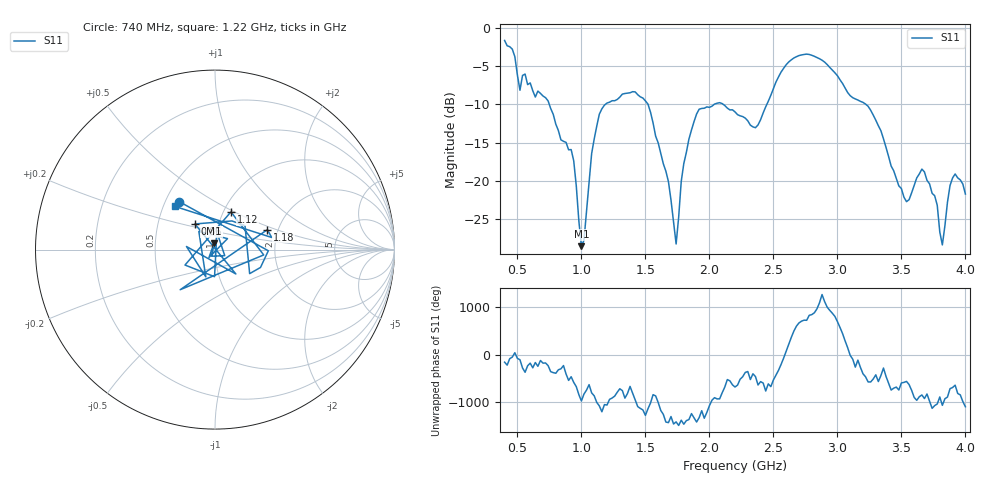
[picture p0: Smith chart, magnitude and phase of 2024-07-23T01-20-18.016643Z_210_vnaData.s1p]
!Created with skrf (http://scikit-rf.org).
# Hz S RI R 50.0
!freq ReS11 ImS11
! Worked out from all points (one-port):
!   181 points, 400 MHz to 4 GHz, reference 50 ohm
!   lowest |S11| = -28.5 dB at 1 GHz (marker M1), VSWR 1.08, Z = 49.3 + j3.67 ohm
!   |S11| at or under -10 dB: 749.1 MHz to 1.187 GHz (438.1 MHz wide, 45.3 % of centre); 1.521 GHz to 2.037 GHz (516.3 MHz wide, 29 % of centre); 3.223 GHz to end of sweep (the widest 3 of 4)
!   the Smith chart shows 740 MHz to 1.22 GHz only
!   S11 on the Smith chart (normalised r, x): 740 MHz: 0.59, +0.35; 860 MHz: 0.77, +0.23; 1.12 GHz: 1.08, +0.48; 1.18 GHz: 1.76, +0.43; 1.22 GHz: 0.58, +0.31
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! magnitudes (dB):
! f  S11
! 400 MHz  -1.7
! 520 MHz  -8.2
! 560 MHz  -6.0
! 740 MHz  -9.5
! 860 MHz  -14.8
! 940 MHz  -17.4
! 1 GHz  -28.5
! 1.12 GHz  -12.8
! 1.18 GHz  -10.1
! 1.22 GHz  -9.7
! 1.3 GHz  -9.1
! 1.52 GHz  -10.0
! 1.68 GHz  -20.1
! 1.74 GHz  -28.2
! 1.76 GHz  -24.7
! 1.8 GHz  -17.7
! 1.92 GHz  -10.6
! 2.2 GHz  -11.0
! 2.36 GHz  -13.0
! 2.66 GHz  -3.9
! 3.1 GHz  -8.9
! 3.26 GHz  -10.8
! 3.56 GHz  -22.4
! 3.68 GHz  -18.8
! 3.78 GHz  -23.2
! 3.82 GHz  -28.3
! 3.9 GHz  -19.6
! 4 GHz  -21.7
